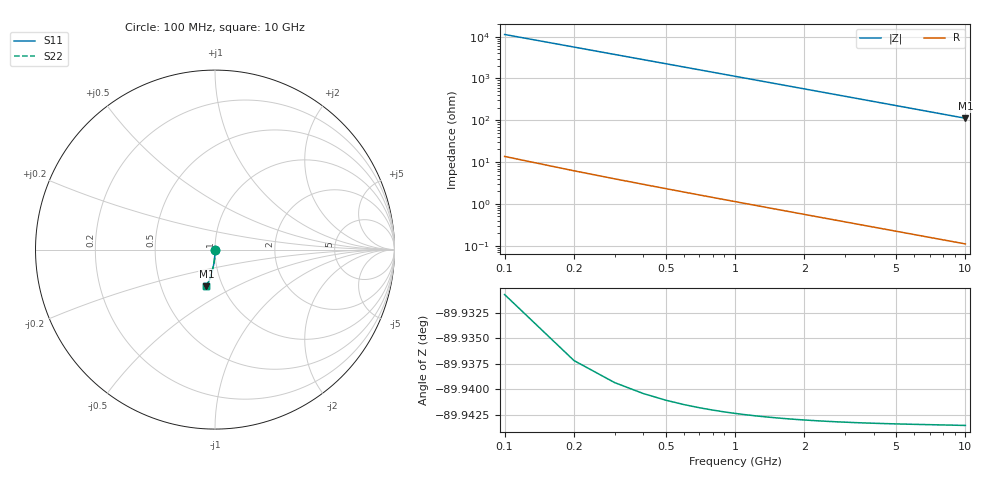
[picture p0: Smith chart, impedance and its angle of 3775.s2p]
# Hz S RI R 50.00
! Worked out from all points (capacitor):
!   100 points, 100 MHz to 10 GHz, reference 50 ohm
!   read as one part in shunt: C = 141 fF near 100 MHz
!   lowest |Z| = 112 ohm at 10 GHz (marker M1)
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1e8  1.05e-05 -0.00214  1 -0.00229  1 -0.00229  1.05e-05 -0.00214
2e8  -6.28e-06 -0.00428  1 -0.00458  1 -0.00458  -6.28e-06 -0.00428
3e8  -3.29e-05 -0.00642  0.9999 -0.00687  0.9999 -0.00687  -3.29e-05 -0.00642
4e8  -6.93e-05 -0.00856  0.9999 -0.00916  0.9999 -0.00916  -6.93e-05 -0.00856
5e8  -0.000115 -0.0107  0.9998 -0.0115  0.9998 -0.0115  -0.000115 -0.0107
6e8  -0.000172 -0.0128  0.9998 -0.0137  0.9998 -0.0137  -0.000172 -0.0128
7e8  -0.000237 -0.015  0.9997 -0.016  0.9997 -0.016  -0.000237 -0.015
8e8  -0.000313 -0.0171  0.9996 -0.0183  0.9996 -0.0183  -0.000313 -0.0171
9e8  -0.000399 -0.0192  0.9996 -0.0206  0.9996 -0.0206  -0.000399 -0.0192
1.1e9  -0.000599 -0.0235  0.9994 -0.0252  0.9994 -0.0252  -0.000599 -0.0235
1.4e9  -0.000973 -0.0299  0.999 -0.0321  0.999 -0.0321  -0.000973 -0.0299
1.8e9  -0.00161 -0.0385  0.9983 -0.0412  0.9983 -0.0412  -0.00161 -0.0385
2.1e9  -0.00219 -0.0449  0.9978 -0.0481  0.9978 -0.0481  -0.00219 -0.0449
2.5e9  -0.0031 -0.0534  0.9969 -0.0572  0.9969 -0.0572  -0.0031 -0.0534
2.9e9  -0.00417 -0.0619  0.9958 -0.0663  0.9958 -0.0663  -0.00417 -0.0619
3.4e9  -0.00572 -0.0725  0.9942 -0.0777  0.9942 -0.0777  -0.00572 -0.0725
4.2e9  -0.00871 -0.0894  0.9912 -0.0958  0.9912 -0.0958  -0.00871 -0.0894
5.1e9  -0.0128 -0.1082  0.9871 -0.116  0.9871 -0.116  -0.0128 -0.1082
5.9e9  -0.0171 -0.1247  0.9828 -0.1338  0.9828 -0.1338  -0.0171 -0.1247
6.7e9  -0.022 -0.141  0.9779 -0.1514  0.9779 -0.1514  -0.022 -0.141
8.4e9  -0.0342 -0.1748  0.9657 -0.1879  0.9657 -0.1879  -0.0342 -0.1748
1e10  -0.0479 -0.2054  0.952 -0.221  0.952 -0.221  -0.0479 -0.2054
